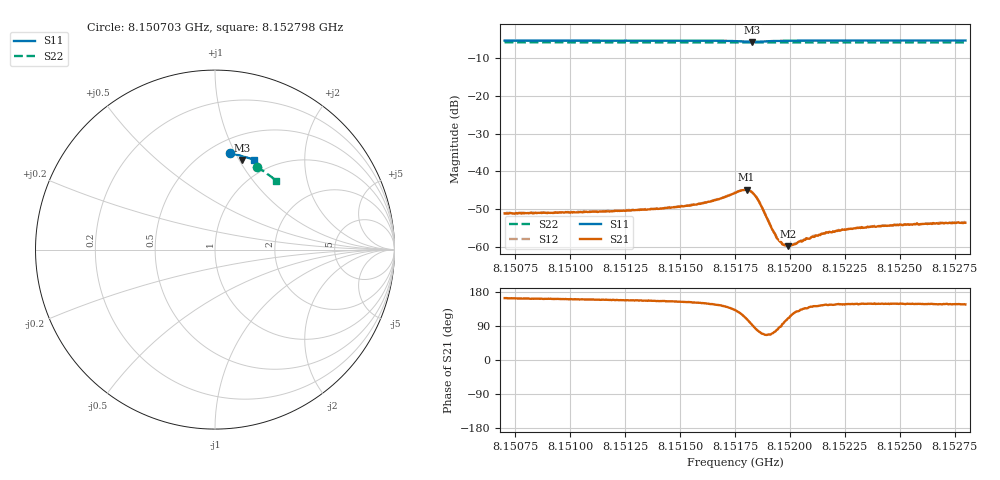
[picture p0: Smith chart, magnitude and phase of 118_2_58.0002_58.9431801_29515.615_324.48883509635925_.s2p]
#  HZ  S  RI  R  50.00
! Rohde & Schwarz Vector Network Analyzer
! Rohde-Schwarz,ZNB20-2Port,1311601062101988,3.16
! Created: UTC 3/21/2024, 12:55:36 AM
! freq[Hz]  re:S11  im:S11  re:S21  im:S21  re:S12  im:S12  re:S22  im:S22
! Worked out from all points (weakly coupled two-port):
!   401 points, 8.150703 GHz to 8.152798 GHz, reference 50 ohm
!   highest |S21| = -44.92 dB at 8.151803 GHz (marker M1); lowest = -59.9 dB at 8.151991 GHz (marker M2)
!   lowest |S11| = -5.7 dB at 8.151829 GHz (marker M3), VSWR 3.18, Z = 37.6 + j51.5 ohm
!   |S11| at or under -10 dB: nowhere
!   |S22| runs from -5.8 to -5.8 dB; largest |S21 - S12| = 0.00013
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8.1507031e9  0.0819 0.5359  -0.00264 0.00079  -0.00264 0.000866  0.2316 0.4598
8.151054e9  0.1068 0.532  -0.00268 0.000975  -0.0027 0.00102  0.2515 0.4488
8.1514049e9  0.1321 0.5264  -0.00288 0.00132  -0.0029 0.00135  0.2707 0.4368
8.1514887e9  0.1385 0.5247  -0.00302 0.00147  -0.00303 0.00154  0.2753 0.4338
8.1516091e9  0.1484 0.5212  -0.00328 0.0019  -0.00329 0.00196  0.2818 0.4293
8.1516929e9  0.156 0.5164  -0.00352 0.00267  -0.00353 0.00273  0.2863 0.4262
8.1517505e9  0.1605 0.5097  -0.00344 0.00384  -0.0034 0.00394  0.2892 0.4238
8.1517767e9  0.1609 0.5049  -0.00296 0.00464  -0.00291 0.00476  0.2905 0.4226
8.1518029e9  0.1581 0.5  -0.00183 0.00537  -0.00175 0.00544  0.2915 0.4218
8.1518291e9  0.1519 0.4987  -0.000197 0.0052  -0.000128 0.00527  0.2926 0.4207
8.1518448e9  0.1483 0.5006  0.000622 0.00459  0.0007 0.00461  0.2933 0.4205
8.1518605e9  0.1466 0.5038  0.00102 0.00377  0.00113 0.00378  0.2941 0.42
8.1519181e9  0.1503 0.5134  0.00059 0.00162  0.000645 0.0016  0.2973 0.4182
8.1519443e9  0.1537 0.5151  0.000207 0.00124  0.000252 0.00127  0.2986 0.4174
8.1519653e9  0.1563 0.5158  -8.11e-05 0.00107  -4.97e-05 0.0011  0.2999 0.4165
8.1519915e9  0.1593 0.5164  -0.000344 0.000952  -0.00034 0.000973  0.3012 0.4154
8.1520176e9  0.1619 0.5163  -0.000592 0.00089  -0.000565 0.00092  0.3025 0.4143
8.1521014e9  0.1696 0.5155  -0.00104 0.000859  -0.00105 0.000854  0.307 0.4111
8.1521695e9  0.1753 0.5141  -0.00127 0.000881  -0.00128 0.000866  0.3104 0.4084
8.1522324e9  0.18 0.5129  -0.00138 0.000886  -0.00138 0.000913  0.3135 0.4059
8.1524523e9  0.1958 0.508  -0.0016 0.00101  -0.00163 0.00105  0.3244 0.3969
8.152798e9  0.219 0.4992  -0.00173 0.00114  -0.00175 0.00116  0.341 0.3822
